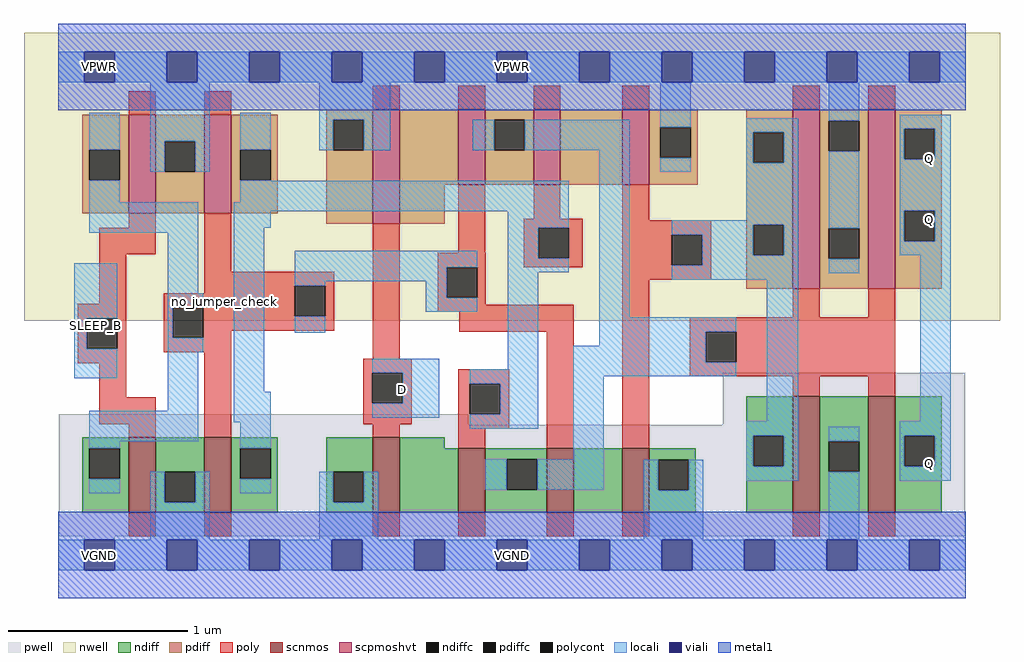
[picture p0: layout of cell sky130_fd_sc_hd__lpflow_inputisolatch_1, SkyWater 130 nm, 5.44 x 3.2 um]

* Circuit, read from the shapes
.subckt sky130_fd_sc_hd__lpflow_inputisolatch_1 D SLEEP_B VGND VNB VPB VPWR Q
XM1 VGND SLEEP_B n1 VNB sky130_fd_pr__nfet_01v8 w=0.42 l=0.15
XM2 n2 n1 VGND VNB sky130_fd_pr__nfet_01v8 w=0.42 l=0.15
XM3 n3 D VGND VNB sky130_fd_pr__nfet_01v8 w=0.42 l=0.15
XM4 n4 n2 n3 VNB sky130_fd_pr__nfet_01v8 w=0.36 l=0.15
XM5 n5 n1 n4 VNB sky130_fd_pr__nfet_01v8 w=0.36 l=0.15
XM6 VGND n6 n5 VNB sky130_fd_pr__nfet_01v8 w=0.36 l=0.15
XM7 VGND n4 n6 VNB sky130_fd_pr__nfet_01v8 w=0.65 l=0.15
XM8 Q n4 VGND VNB sky130_fd_pr__nfet_01v8 w=0.65 l=0.15
XM9 VPWR SLEEP_B n1 VPB sky130_fd_pr__pfet_01v8_hvt w=0.55 l=0.15
XM10 n2 n1 VPWR VPB sky130_fd_pr__pfet_01v8_hvt w=0.55 l=0.15
XM11 n7 D VPWR VPB sky130_fd_pr__pfet_01v8_hvt w=0.64 l=0.15
XM12 n4 n1 n7 VPB sky130_fd_pr__pfet_01v8_hvt w=0.42 l=0.15
XM13 n8 n2 n4 VPB sky130_fd_pr__pfet_01v8_hvt w=0.42 l=0.15
XM14 VPWR n6 n8 VPB sky130_fd_pr__pfet_01v8_hvt w=0.42 l=0.15
XM15 VPWR n4 n6 VPB sky130_fd_pr__pfet_01v8_hvt w=1 l=0.15
XM16 Q n4 VPWR VPB sky130_fd_pr__pfet_01v8_hvt w=1 l=0.15
.ends

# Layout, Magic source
magic
tech sky130B
magscale 1 2
<< nwell >>
rect -38 261 1050 582
<< pwell >>
rect 1 145 457 157
rect 741 145 1011 203
rect 1 21 1011 145
rect 29 -17 63 21
<< scnmos >>
rect 79 47 109 131
rect 163 47 193 131
rect 351 47 381 131
rect 446 47 476 119
rect 545 47 575 119
rect 629 47 659 119
rect 819 47 849 177
rect 903 47 933 177
<< scpmoshvt >>
rect 79 381 109 491
rect 163 381 193 491
rect 351 369 381 497
rect 446 413 476 497
rect 530 413 560 497
rect 629 413 659 497
rect 819 297 849 497
rect 903 297 933 497
<< ndiff >>
rect 27 119 79 131
rect 27 85 35 119
rect 69 85 79 119
rect 27 47 79 85
rect 109 93 163 131
rect 109 59 119 93
rect 153 59 163 93
rect 109 47 163 59
rect 193 119 245 131
rect 193 85 203 119
rect 237 85 245 119
rect 193 47 245 85
rect 299 93 351 131
rect 299 59 307 93
rect 341 59 351 93
rect 299 47 351 59
rect 381 119 431 131
rect 767 133 819 177
rect 381 47 446 119
rect 476 107 545 119
rect 476 73 500 107
rect 534 73 545 107
rect 476 47 545 73
rect 575 47 629 119
rect 659 106 711 119
rect 659 72 669 106
rect 703 72 711 106
rect 659 47 711 72
rect 767 99 775 133
rect 809 99 819 133
rect 767 47 819 99
rect 849 127 903 177
rect 849 93 859 127
rect 893 93 903 127
rect 849 47 903 93
rect 933 133 985 177
rect 933 99 943 133
rect 977 99 985 133
rect 933 47 985 99
<< pdiff >>
rect 27 452 79 491
rect 27 418 35 452
rect 69 418 79 452
rect 27 381 79 418
rect 109 461 163 491
rect 109 427 119 461
rect 153 427 163 461
rect 109 381 163 427
rect 193 452 245 491
rect 193 418 203 452
rect 237 418 245 452
rect 193 381 245 418
rect 299 485 351 497
rect 299 451 307 485
rect 341 451 351 485
rect 299 369 351 451
rect 381 413 446 497
rect 476 485 530 497
rect 476 451 486 485
rect 520 451 530 485
rect 476 413 530 451
rect 560 413 629 497
rect 659 477 713 497
rect 659 443 671 477
rect 705 443 713 477
rect 659 413 713 443
rect 767 471 819 497
rect 767 437 775 471
rect 809 437 819 471
rect 381 369 431 413
rect 767 368 819 437
rect 767 334 775 368
rect 809 334 819 368
rect 767 297 819 334
rect 849 484 903 497
rect 849 450 859 484
rect 893 450 903 484
rect 849 364 903 450
rect 849 330 859 364
rect 893 330 903 364
rect 849 297 903 330
rect 933 475 985 497
rect 933 441 943 475
rect 977 441 985 475
rect 933 384 985 441
rect 933 350 943 384
rect 977 350 985 384
rect 933 297 985 350
<< ndiffc >>
rect 35 85 69 119
rect 119 59 153 93
rect 203 85 237 119
rect 307 59 341 93
rect 500 73 534 107
rect 669 72 703 106
rect 775 99 809 133
rect 859 93 893 127
rect 943 99 977 133
<< pdiffc >>
rect 35 418 69 452
rect 119 427 153 461
rect 203 418 237 452
rect 307 451 341 485
rect 486 451 520 485
rect 671 443 705 477
rect 775 437 809 471
rect 775 334 809 368
rect 859 450 893 484
rect 859 330 893 364
rect 943 441 977 475
rect 943 350 977 384
<< poly >>
rect 79 491 109 517
rect 163 491 193 517
rect 351 497 381 523
rect 446 497 476 523
rect 530 497 560 523
rect 629 497 659 523
rect 819 497 849 523
rect 903 497 933 523
rect 79 365 109 381
rect 46 335 109 365
rect 46 280 76 335
rect 163 316 193 381
rect 163 300 308 316
rect 163 292 264 300
rect 22 264 76 280
rect 22 230 32 264
rect 66 230 76 264
rect 22 214 76 230
rect 118 276 264 292
rect 118 242 128 276
rect 162 266 264 276
rect 298 266 308 300
rect 162 250 308 266
rect 162 242 193 250
rect 118 226 193 242
rect 46 176 76 214
rect 46 146 109 176
rect 79 131 109 146
rect 163 131 193 226
rect 351 219 381 369
rect 446 337 476 413
rect 530 375 560 413
rect 519 365 585 375
rect 423 321 477 337
rect 519 331 535 365
rect 569 331 585 365
rect 519 321 585 331
rect 629 373 659 413
rect 629 357 728 373
rect 629 323 684 357
rect 718 323 728 357
rect 423 287 433 321
rect 467 287 477 321
rect 423 279 477 287
rect 629 307 728 323
rect 423 271 575 279
rect 447 249 575 271
rect 340 203 394 219
rect 340 169 350 203
rect 384 169 394 203
rect 340 146 394 169
rect 446 191 503 207
rect 446 157 459 191
rect 493 157 503 191
rect 351 131 381 146
rect 446 141 503 157
rect 446 119 476 141
rect 545 119 575 249
rect 629 119 659 307
rect 819 265 849 297
rect 903 265 933 297
rect 704 249 933 265
rect 704 215 722 249
rect 756 215 933 249
rect 704 199 933 215
rect 819 177 849 199
rect 903 177 933 199
rect 79 21 109 47
rect 163 21 193 47
rect 351 21 381 47
rect 446 21 476 47
rect 545 21 575 47
rect 629 21 659 47
rect 819 21 849 47
rect 903 21 933 47
<< polycont >>
rect 32 230 66 264
rect 128 242 162 276
rect 264 266 298 300
rect 535 331 569 365
rect 684 323 718 357
rect 433 287 467 321
rect 350 169 384 203
rect 459 157 493 191
rect 722 215 756 249
<< locali >>
rect 0 527 29 561
rect 63 527 121 561
rect 155 527 213 561
rect 247 527 305 561
rect 339 527 397 561
rect 431 527 489 561
rect 523 527 581 561
rect 615 527 673 561
rect 707 527 765 561
rect 799 527 857 561
rect 891 527 949 561
rect 983 527 1012 561
rect 35 452 69 493
rect 103 461 169 527
rect 103 427 119 461
rect 153 427 169 461
rect 203 452 237 493
rect 35 393 69 418
rect 291 485 370 527
rect 291 451 307 485
rect 341 451 370 485
rect 462 451 486 485
rect 520 451 637 485
rect 203 417 237 418
rect 203 393 569 417
rect 35 359 156 393
rect 18 264 66 325
rect 18 230 32 264
rect 18 197 66 230
rect 122 292 156 359
rect 196 383 569 393
rect 196 365 237 383
rect 501 365 569 383
rect 122 276 162 292
rect 122 242 128 276
rect 122 226 162 242
rect 122 161 156 226
rect 35 127 156 161
rect 196 182 230 365
rect 264 321 467 339
rect 264 305 433 321
rect 264 300 298 305
rect 410 287 433 305
rect 410 271 467 287
rect 501 331 535 365
rect 501 315 569 331
rect 264 248 298 266
rect 350 203 425 219
rect 501 207 535 315
rect 603 265 637 451
rect 671 477 705 527
rect 671 427 705 443
rect 767 471 825 487
rect 767 437 775 471
rect 809 437 825 471
rect 767 373 825 437
rect 684 368 825 373
rect 684 357 775 368
rect 718 334 775 357
rect 809 334 825 368
rect 718 323 825 334
rect 684 307 825 323
rect 859 484 893 527
rect 859 364 893 450
rect 938 475 995 491
rect 938 441 943 475
rect 977 441 995 475
rect 938 384 995 441
rect 938 350 943 384
rect 977 350 995 384
rect 938 334 995 350
rect 859 314 893 330
rect 603 249 756 265
rect 603 233 722 249
rect 196 148 237 182
rect 384 169 425 203
rect 350 153 425 169
rect 459 191 535 207
rect 493 157 535 191
rect 35 119 69 127
rect 203 119 237 148
rect 459 141 535 157
rect 574 215 722 233
rect 574 199 756 215
rect 35 69 69 85
rect 103 59 119 93
rect 153 59 169 93
rect 574 107 608 199
rect 790 149 825 307
rect 961 149 995 334
rect 203 69 237 85
rect 103 17 169 59
rect 291 59 307 93
rect 341 59 357 93
rect 476 73 500 107
rect 534 73 608 107
rect 767 133 825 149
rect 291 17 357 59
rect 653 72 669 106
rect 703 72 719 106
rect 767 99 775 133
rect 809 99 825 133
rect 767 83 825 99
rect 859 127 893 143
rect 653 17 719 72
rect 859 17 893 93
rect 938 133 995 149
rect 938 99 943 133
rect 977 99 995 133
rect 938 83 995 99
rect 0 -17 29 17
rect 63 -17 121 17
rect 155 -17 213 17
rect 247 -17 305 17
rect 339 -17 397 17
rect 431 -17 489 17
rect 523 -17 581 17
rect 615 -17 673 17
rect 707 -17 765 17
rect 799 -17 857 17
rect 891 -17 949 17
rect 983 -17 1012 17
<< viali >>
rect 29 527 63 561
rect 121 527 155 561
rect 213 527 247 561
rect 305 527 339 561
rect 397 527 431 561
rect 489 527 523 561
rect 581 527 615 561
rect 673 527 707 561
rect 765 527 799 561
rect 857 527 891 561
rect 949 527 983 561
rect 29 -17 63 17
rect 121 -17 155 17
rect 213 -17 247 17
rect 305 -17 339 17
rect 397 -17 431 17
rect 489 -17 523 17
rect 581 -17 615 17
rect 673 -17 707 17
rect 765 -17 799 17
rect 857 -17 891 17
rect 949 -17 983 17
<< metal1 >>
rect 0 561 1012 592
rect 0 527 29 561
rect 63 527 121 561
rect 155 527 213 561
rect 247 527 305 561
rect 339 527 397 561
rect 431 527 489 561
rect 523 527 581 561
rect 615 527 673 561
rect 707 527 765 561
rect 799 527 857 561
rect 891 527 949 561
rect 983 527 1012 561
rect 0 496 1012 527
rect 0 17 1012 48
rect 0 -17 29 17
rect 63 -17 121 17
rect 155 -17 213 17
rect 247 -17 305 17
rect 339 -17 397 17
rect 431 -17 489 17
rect 523 -17 581 17
rect 615 -17 673 17
rect 707 -17 765 17
rect 799 -17 857 17
rect 891 -17 949 17
rect 983 -17 1012 17
rect 0 -48 1012 -17
<< labels >>
flabel locali s 28 244 55 267 0 FreeSans 200 0 0 0 SLEEP_B
port 2 nsew clock input
flabel locali s 366 167 401 203 0 FreeSans 200 0 0 0 D
port 1 nsew signal input
flabel locali s 954 357 988 391 0 FreeSans 200 0 0 0 Q
port 7 nsew signal output
flabel locali s 954 425 988 459 0 FreeSans 200 0 0 0 Q
port 7 nsew signal output
flabel locali s 954 85 988 119 0 FreeSans 200 0 0 0 Q
port 7 nsew signal output
flabel metal1 s 29 -17 63 17 0 FreeSans 200 0 0 0 VGND
port 3 nsew ground bidirectional abutment
flabel metal1 s 29 527 63 561 0 FreeSans 200 0 0 0 VPWR
port 6 nsew power bidirectional abutment
flabel nwell s 29 527 63 561 0 FreeSans 200 0 0 0 VPB
port 5 nsew power bidirectional
flabel nwell s 46 544 46 544 0 FreeSans 200 0 0 0 VPB
flabel pwell s 29 -17 63 17 0 FreeSans 200 0 0 0 VNB
port 4 nsew ground bidirectional
flabel pwell s 46 0 46 0 0 FreeSans 200 0 0 0 VNB
rlabel comment s 0 0 0 0 4 lpflow_inputisolatch_1
flabel comment s 185 283 185 283 0 FreeSans 200 0 0 0 no_jumper_check
rlabel metal1 s 0 -48 1012 48 1 VGND
port 3 nsew ground bidirectional abutment
rlabel metal1 s 0 496 1012 592 1 VPWR
port 6 nsew power bidirectional abutment
<< properties >>
string FIXED_BBOX 0 0 1012 544
string GDS_END 2351778
string GDS_FILE $PDKPATH/libs.ref/sky130_fd_sc_hd/gds/sky130_fd_sc_hd.gds
string GDS_START 2342846
string LEFclass CORE
string LEFsite unithd
string LEFsymmetry X Y R90
<< end >>
